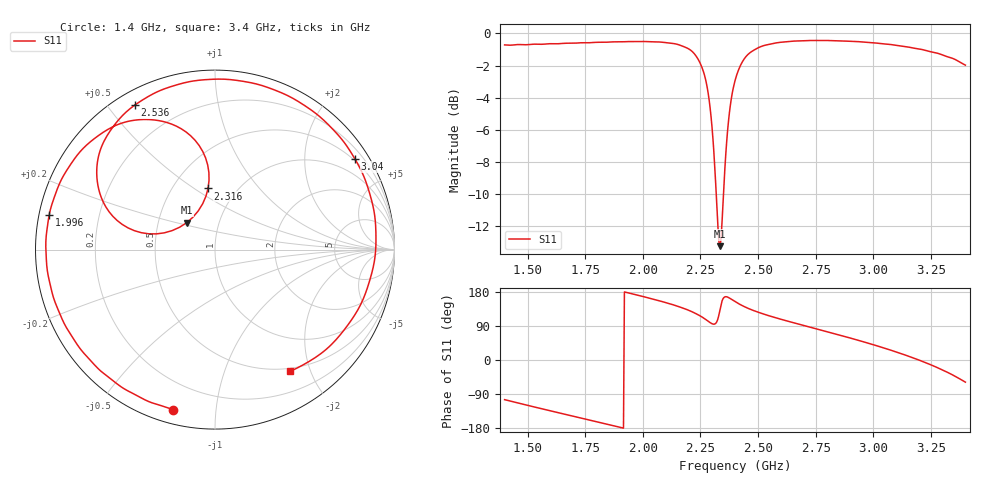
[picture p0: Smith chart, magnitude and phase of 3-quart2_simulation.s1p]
#  Hz  S  RI  R  50
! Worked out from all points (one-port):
!   501 points, 1.4 GHz to 3.4 GHz, reference 50 ohm
!   lowest |S11| = -13.2 dB at 2.336 GHz (marker M1), VSWR 1.56, Z = 34.9 + j11 ohm
!   |S11| at or under -10 dB: 2.319 GHz to 2.35 GHz (31.42 MHz wide, 1.35 % of centre)
!   S11 on the Smith chart (normalised r, x): 1.4 GHz: 0.07, -0.77; 1.996 GHz: 0.03, +0.10; 2.316 GHz: 0.74, +0.57; 2.536 GHz: 0.06, +0.59; 3.04 GHz: 0.45, +3.32; 3.4 GHz: 0.46, -1.70
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1.4e9  -0.2332 -0.8913
1.52e9  -0.4981 -0.7802
1.652e9  -0.7317 -0.576
1.788e9  -0.8882 -0.3007
1.9e9  -0.9403 -0.0414
1.996e9  -0.9241 0.1917
2.076e9  -0.8557 0.3902
2.152e9  -0.7241 0.5742
2.208e9  -0.5557 0.6907
2.26e9  -0.2927 0.7146
2.292e9  -0.0883 0.5799
2.316e9  -0.0387 0.341
2.328e9  -0.0933 0.2156
2.336e9  -0.1584 0.1495
2.36e9  -0.4105 0.0942
2.38e9  -0.5694 0.1859
2.4e9  -0.6411 0.3118
2.46e9  -0.6167 0.6069
2.536e9  -0.4449 0.8064
2.652e9  -0.1422 0.9357
2.78e9  0.1996 0.9298
2.9e9  0.5007 0.8018
3.04e9  0.7793 0.5056
3.152e9  0.893 0.1613
3.216e9  0.8875 -0.0673
3.28e9  0.812 -0.3052
3.34e9  0.6614 -0.5159
3.4e9  0.4172 -0.6791
